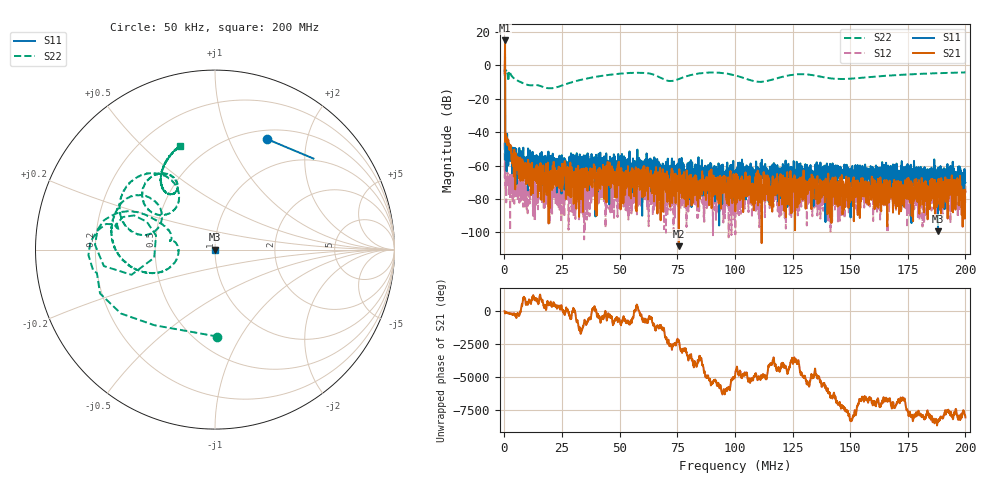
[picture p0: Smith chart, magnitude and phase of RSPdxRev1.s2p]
! 19-Feb-26 3:08:32 PM
! E:\VNA_MEASUREMENTS\RECBLOCK\RSPDXREV1.S2P
! CHANNEL.1
! TR.MEASUREMENT
! CORRECTED.DATA
# GHZ S RI R 50.0
! FREQ.GHZ  S11RE  S11IM  S21RE  S21IM  S12RE  S12IM  S22RE  S22IM
!; PortSelection: Port_12
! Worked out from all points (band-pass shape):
!   2000 points, 50 kHz to 200 MHz, reference 50 ohm
!   highest |S21| = 14.79 dB at 250 kHz (marker M1); lowest = -108.2 dB at 75.67 MHz (marker M2)
!   |S21| within 3 dB of the highest: 224.8 kHz to 255 kHz (30.17 kHz wide, 12.6 % of centre)
!   lowest |S11| = -99.3 dB at 188.1 MHz (marker M3), VSWR 1.00, Z = 50 + j0.00034 ohm
!   |S11| at or under -10 dB: 276.8 kHz to end of sweep
!   |S22| runs from -13.9 to -3.0 dB; largest |S21 - S12| = 5.5
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5e-05  0.2882 0.6163  0.5494 -0.1827  -0.00455 -0.00162  0.0138 -0.4844
0.00025005  0.8993 -1.529  -5.419 0.8805  0.00189 0.00025  -0.5246 -0.356
0.001150275  0.00701 0.00542  -0.00548 -0.00229  -0.00039 -0.000229  -0.5367 0.1067
0.001350325  -0.00468 0.000378  -0.00583 -0.00102  -3.7e-05 0.000607  -0.5132 0.1815
0.005551376  -0.000714 0.000239  -0.000385 0.0017  0.000236 0.000116  -0.3143 0.1545
0.01865465  0.000179 -0.000198  0.000584 0.000604  0.000119 0.000138  -0.2059 0.0122
0.02655663  -0.000432 0.000755  0.000722 0.000347  -6.32e-05 -7.39e-05  -0.2505 -0.0992
0.03345835  0.000162 0.00105  0.000455 -0.000255  -0.000156 4.31e-05  -0.3475 -0.131
0.05496373  2.3e-06 0.00037  0.000257 -0.000539  1.61e-05 6.14e-05  -0.576 0.105
0.06676668  -1.89e-05 0.000365  -0.000147 -0.000382  -0.00025 6.72e-05  -0.3537 0.2827
0.07566891  -3.35e-05 -0.000719  -1.5e-06 -3.6e-06  7.25e-05 -3.95e-05  -0.3773 0.0838
0.08707176  -0.000952 0.000276  -0.000123 2.04e-05  2.2e-06 -0.000168  -0.5292 0.2679
0.100075  -0.000541 -0.000388  -0.000406 0.00014  -7.41e-05 0.000236  -0.2783 0.4099
0.1053763  -9.4e-05 -0.000324  4.59e-05 0.00011  -6.48e-05 0.000205  -0.2034 0.3212
0.1075769  -0.000862 -6.9e-05  -0.000288 4.67e-05  -0.000194 0.00016  -0.2006 0.2775
0.1102776  -6.77e-05 -0.000129  0.000253 0.000181  -3.13e-05 -1.32e-05  -0.2201 0.2304
0.1154789  0.000118 1.92e-05  0.000205 4.36e-05  -8.03e-05 -1.78e-05  -0.3028 0.1918
0.1214804  0.000211 -0.000785  5e-06 4.37e-05  -0.000164 3.37e-05  -0.3922 0.25
0.1333833  -0.000292 4.63e-05  -0.000304 0.000399  -1.16e-05 4.71e-05  -0.2806 0.4242
0.1666917  0.000674 -0.00031  -0.000155 0.000209  8.7e-06 -5.32e-05  -0.3008 0.3839
0.188097  -1.03e-05 3.4e-06  -9.68e-05 -6.17e-05  -0.000203 -6.41e-05  -0.2533 0.5198
0.2  0.000198 -0.000237  -0.000145 -8.25e-05  -0.000228 -0.000159  -0.1952 0.5777
